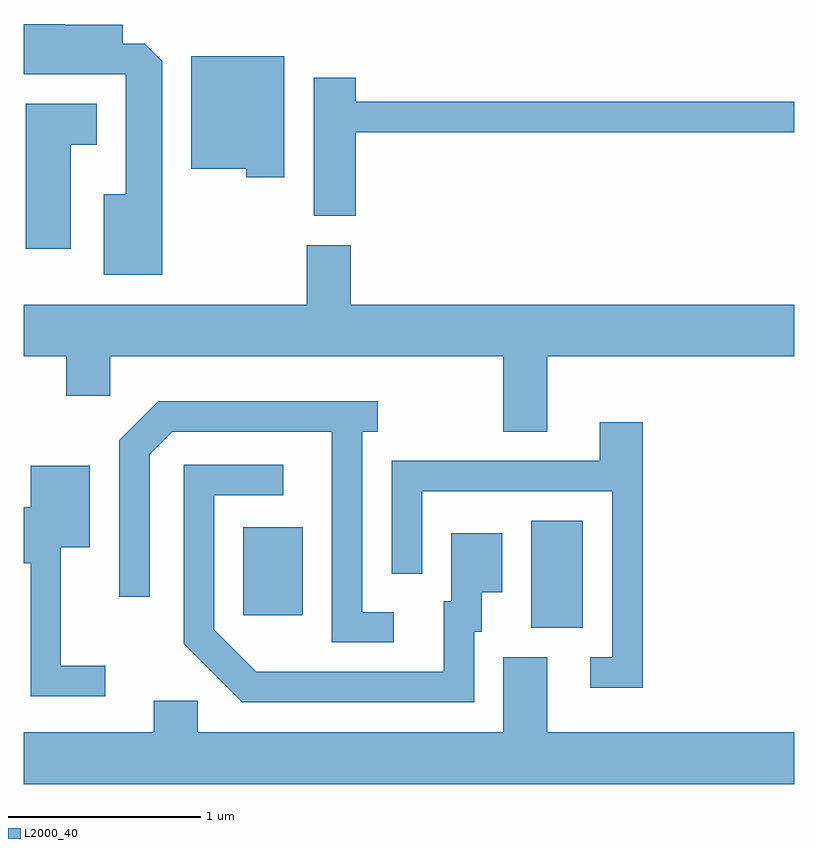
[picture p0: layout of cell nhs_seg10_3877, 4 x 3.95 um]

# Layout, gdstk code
import gdstk
lib = gdstk.Library(unit=1e-6, precision=1e-09)
def R(c, l, rs):  # rectangles x0, y0, x1, y1
    for r in rs: c.add(gdstk.rectangle(r[:2], r[2:], *l))
def P(c, l, *ps):  # polygons
    for p in ps: c.add(gdstk.Polygon(p, *l))
L2000_40 = (2000, 40)

nhs_seg10_3877 = lib.new_cell('nhs_seg10_3877')
R(nhs_seg10_3877, L2000_40, [(302.246,2121.386,302.514,2121.944), (300.751,2121.451,301.059,2121.909)])
P(nhs_seg10_3877, L2000_40, [(300.329,2124.329),(300.239,2124.419),(300.124,2124.419),(300.124,2124.519),(299.824,2124.519),(299.824,2124.522),(299.611,2124.522),(299.611,2124.261),(300.141,2124.261),(300.141,2123.639),(300.026,2123.639),(300.026,2123.221),(300.329,2123.221)],
  [(300.964,2124.354),(300.481,2124.354),(300.481,2123.771),(300.766,2123.771),(300.766,2123.726),(300.964,2123.726)],
  [(301.334,2123.961),(303.611,2123.961),(303.611,2124.119),(301.334,2124.119),(301.334,2124.244),(301.116,2124.244),(301.116,2123.526),(301.334,2123.526)],
  [(299.854,2123.896),(299.989,2123.896),(299.989,2124.109),(299.621,2124.109),(299.621,2123.356),(299.854,2123.356)],
  [(302.329,2122.796),(303.611,2122.796),(303.611,2123.064),(301.309,2123.064),(301.309,2123.374),(301.081,2123.374),(301.081,2123.064),(299.611,2123.064),(299.611,2122.796),(299.831,2122.796),(299.831,2122.591),(300.059,2122.591),(300.059,2122.796),(302.101,2122.796),(302.101,2122.406),(302.329,2122.406)],
  [(301.533,2121.469),(301.369,2121.469),(301.369,2122.406),(301.448,2122.406),(301.448,2122.564),(300.309,2122.564),(300.106,2122.362),(300.106,2121.548),(300.264,2121.548),(300.264,2122.289),(300.382,2122.406),(301.211,2122.406),(301.211,2121.311),(301.533,2121.311)],
  [(302.824,2122.454),(302.601,2122.454),(302.601,2122.254),(301.521,2122.254),(301.521,2121.668),(301.679,2121.668),(301.679,2122.096),(302.666,2122.096),(302.666,2121.234),(302.553,2121.234),(302.553,2121.076),(302.824,2121.076)],
  [(301.949,2121.366),(301.989,2121.366),(301.989,2121.571),(302.094,2121.571),(302.094,2121.879),(301.831,2121.879),(301.831,2121.524),(301.791,2121.524),(301.791,2121.159),(300.817,2121.159),(300.599,2121.377),(300.599,2122.076),(300.958,2122.076),(300.958,2122.234),(300.441,2122.234),(300.441,2121.304),(300.744,2121.001),(301.949,2121.001)],
  [(300.033,2121.189),(299.804,2121.189),(299.804,2121.806),(299.954,2121.806),(299.954,2122.229),(299.646,2122.229),(299.646,2122.014),(299.611,2122.014),(299.611,2121.721),(299.646,2121.721),(299.646,2121.031),(300.033,2121.031)],
  [(303.611,2120.844),(302.329,2120.844),(302.329,2121.234),(302.101,2121.234),(302.101,2120.844),(300.514,2120.844),(300.514,2121.009),(300.286,2121.009),(300.286,2120.844),(299.611,2120.844),(299.611,2120.576),(303.611,2120.576)])

lib.write_gds('nhs_seg10_3877.gds')
